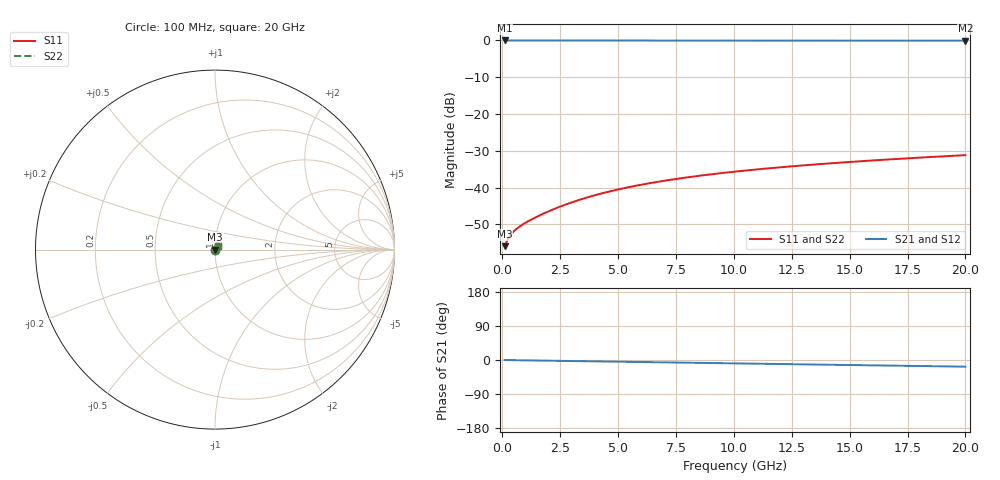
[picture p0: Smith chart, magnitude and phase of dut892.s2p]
! Touchstone file exported from HFSS 2026.1.0
!  File:  C:/ffzhzh/LocalFiles/Ansys_Project_Files/temp_train_TMRDL_892_1783157673_51560.aedt
!  Generated:  05:35:39 PM Jul  4, 2026
!  Design:  TMRDL
!  Project:  temp_train_TMRDL_892_1783157673_51560
! Variables:
!  h_bsmrdl = 2um
!  h_ox = 20um
!  h_rdl = 5um
!  h_sub = 80um
!  h_tmrdl = 3.27um
!  h_tsv = 80um
!  h_via = 3um
!  l_bsmrdl = 300um
!  l_sub = 699.53um
!  l_tmrdl = 299.53um
!  m_sub = 200um
!  pitch = 31.26um
!  r_tsv = 6um
!  s_tmrdl = 10um
!  w_bsmrdl = 18um
!  w_sub = 500um
!  w_tmrdl = 26.12um
!  x_tsv_center1 = 312.59um
!  x_tsv_center2 = 630.59um
!  x_tsv_center3 = 956.24um
!  x_tsv_center4 = 1274.24um
!  x_tsv_center5 = 1599.89um
!  x_tsv_center6 = 1917.89um
# GHz S MA R 50.000000
! Terminal data exported
! Port[1] = TM_RDL1_1_T1
! Port[2] = TM_RDL1_1_T2
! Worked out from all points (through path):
!   200 points, 100 MHz to 20 GHz, reference 50 ohm
!   highest |S21| = -0.01 dB at 100 MHz (marker M1); lowest = -0.1 dB at 20 GHz (marker M2)
!   group delay of S21, straight-line fit = 2.44 ps
!   lowest |S11| = -55.9 dB at 100 MHz (marker M3), VSWR 1.00, Z = 50.2 + j0.0446 ohm
!   |S11| at or under -10 dB: start of sweep to end of sweep
!   |S22| runs from -55.9 to -31.2 dB; largest |S21 - S12| = 3e-15
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0.1  0.001603 16.1  0.9985 -0.1  0.9985 -0.1  0.001603 16.1
! Gamma 0 0 0 0
! Port Impedance 50 0 50 0
0.2  0.001879 24.8  0.9983 -0.2  0.9983 -0.2  0.001871 24.5
0.3  0.002143 29.1  0.9981 -0.3  0.9981 -0.3  0.002121 29.0
0.4  0.002365 31.6  0.998 -0.4  0.998 -0.4  0.002341 31.9
0.5  0.002557 33.7  0.9978 -0.5  0.9978 -0.5  0.002538 34.2
0.7  0.002887 37.2  0.9976 -0.7  0.9976 -0.7  0.002886 37.6
1  0.003329 41.6  0.9975 -0.9  0.9975 -0.9  0.00334 41.9
1.2  0.003613 44.2  0.9974 -1.1  0.9974 -1.1  0.003624 44.4
1.5  0.004039 47.7  0.9973 -1.4  0.9973 -1.4  0.004048 47.7
2.1  0.00492 53.0  0.9972 -1.9  0.9972 -1.9  0.004924 53.0
2.8  0.005995 57.0  0.9969 -2.5  0.9969 -2.5  0.005996 57.0
3.5  0.007096 59.4  0.9967 -3.2  0.9967 -3.2  0.007095 59.4
4.2  0.008199 60.8  0.9965 -3.8  0.9965 -3.8  0.008197 60.8
5  0.009443 61.5  0.9961 -4.5  0.9961 -4.5  0.009441 61.6
5.9  0.01081 61.8  0.9957 -5.3  0.9957 -5.3  0.0108 61.8
6.8  0.01212 61.7  0.9953 -6.1  0.9953 -6.1  0.01212 61.7
8.3  0.01422 61.0  0.9947 -7.4  0.9947 -7.4  0.01421 61.1
10.1  0.01657 60.0  0.9939 -9.0  0.9939 -9.0  0.01656 60.0
11.7  0.01853 58.9  0.9933 -10.4  0.9933 -10.4  0.01852 59.0
13.4  0.02052 57.8  0.9927 -11.9  0.9927 -11.9  0.02051 57.9
16.7  0.02418 55.7  0.9916 -14.7  0.9916 -14.7  0.02415 55.8
20  0.02762 53.5  0.9906 -17.6  0.9906 -17.6  0.02759 53.7
